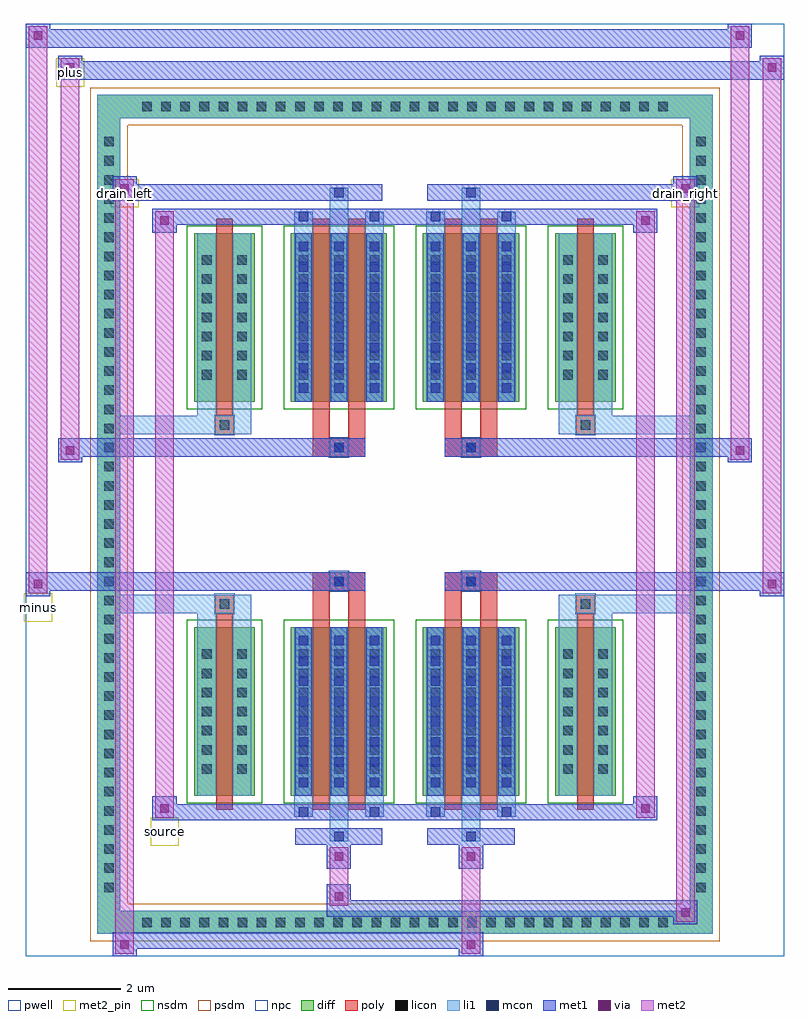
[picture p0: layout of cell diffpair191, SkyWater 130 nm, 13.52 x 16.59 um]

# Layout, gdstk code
import gdstk
lib = gdstk.Library(unit=1e-6, precision=5e-09)
def R(c, l, rs):  # rectangles x0, y0, x1, y1
    for r in rs: c.add(gdstk.rectangle(r[:2], r[2:], *l))
def A(c, l, x, y, w, h, nx, ny, dx, dy):  # array of equal rectangles
    R(c, l, [(x+i*dx, y+j*dy, x+i*dx+w, y+j*dy+h) for i in range(nx) for j in range(ny)])
def P(c, l, *ps):  # polygons
    for p in ps: c.add(gdstk.Polygon(p, *l))
pwell = (64, 44)
diff = (65, 20)
poly = (66, 20)
licon = (66, 44)
li1 = (67, 20)
mcon = (67, 44)
met1 = (68, 20)
via = (68, 44)
met2_pin = (69, 16)
met2 = (69, 20)
nsdm = (93, 44)
psdm = (94, 20)
npc = (95, 20)

diffpair191 = lib.new_cell('diffpair191')
R(diffpair191, pwell, [(-6.74,-7.86,6.74,8.73), (-4.06,-6.05,-0.01,-0.825), (0.01,-6.05,4.06,-0.825), (-4.06,0.825,-0.01,6.05), (0.01,0.825,4.06,6.05)])
A(diffpair191, diff, -4.795, -7.46, 0.41, 0.41, 28, 2, 0.34, 14.51)
A(diffpair191, diff, -5.47, -6.835, 0.41, 0.41, 1, 40, 0, 0.34)
A(diffpair191, diff, 5.06, -6.835, 0.41, 0.41, 1, 40, 0, 0.34)
R(diffpair191, diff, [(-4.795,-7.46,4.795,-7.05), (-5.47,-6.835,-5.06,6.835), (5.06,-6.835,5.47,6.835), (-3.75,-5.005,-2.67,-2.005), (-2.03,-5.005,-0.32,-2.005), (0.32,-5.005,2.03,-2.005), (2.67,-5.005,3.75,-2.005), (-3.75,2.005,-2.67,5.005), (-2.03,2.005,-0.32,5.005), (0.32,2.005,2.03,5.005), (2.67,2.005,3.75,5.005), (-4.795,7.05,4.795,7.46)])
P(diffpair191, diff, [(5.47,7.46),(-5.47,7.46),(-5.47,-7.05),(-5.06,-7.05),(-5.06,7.05),(5.06,7.05),(5.06,-7.05),(-5.06,-7.05),(-5.47,-7.05),(-5.47,-7.46),(5.47,-7.46)])
R(diffpair191, poly, [(-3.36,-5.255,-3.06,-1.755), (-1.64,-5.255,-1.34,-1.755), (-1.01,-5.255,-0.71,-1.755), (0.71,-5.255,1.01,-1.755), (1.34,-5.255,1.64,-1.755), (3.06,-5.255,3.36,-1.755), (-3.375,-1.755,-3.045,-1.425), (-3.375,-1.755,-3.045,-1.425), (-1.64,-1.755,-1.34,-1.355), (-1.01,-1.755,-0.71,-1.355), (0.71,-1.755,1.01,-1.355), (1.34,-1.755,1.64,-1.355), (3.045,-1.755,3.375,-1.425), (3.045,-1.755,3.375,-1.425), (-1.64,-1.355,-0.71,-1.025), (-1.34,-1.355,-1.01,-1.025), (0.71,-1.355,1.64,-1.025), (1.01,-1.355,1.34,-1.025), (-1.64,1.025,-0.71,1.355), (-1.34,1.025,-1.01,1.355), (0.71,1.025,1.64,1.355), (1.01,1.025,1.34,1.355), (-1.64,1.355,-1.34,1.755), (-1.01,1.355,-0.71,1.755), (0.71,1.355,1.01,1.755), (1.34,1.355,1.64,1.755), (-3.375,1.425,-3.045,1.755), (-3.375,1.425,-3.045,1.755), (3.045,1.425,3.375,1.755), (3.045,1.425,3.375,1.755), (-3.36,1.755,-3.06,5.255), (-1.64,1.755,-1.34,5.255), (-1.01,1.755,-0.71,5.255), (0.71,1.755,1.01,5.255), (1.34,1.755,1.64,5.255), (3.06,1.755,3.36,5.255)])
A(diffpair191, licon, -4.675, -7.34, 0.17, 0.17, 28, 2, 0.34, 14.51)
A(diffpair191, licon, -5.35, -6.715, 0.17, 0.17, 1, 40, 0, 0.34)
A(diffpair191, licon, 5.18, -6.715, 0.17, 0.17, 1, 40, 0, 0.34)
A(diffpair191, licon, -3.61, -4.61, 0.17, 0.17, 1, 7, 0, 0.34)
A(diffpair191, licon, -2.98, -4.61, 0.17, 0.17, 1, 7, 0, 0.34)
A(diffpair191, licon, -1.89, -4.61, 0.17, 0.17, 3, 7, 0.63, 0.34)
A(diffpair191, licon, 0.46, -4.61, 0.17, 0.17, 3, 7, 0.63, 0.34)
A(diffpair191, licon, 2.81, -4.61, 0.17, 0.17, 1, 7, 0, 0.34)
A(diffpair191, licon, 3.44, -4.61, 0.17, 0.17, 1, 7, 0, 0.34)
A(diffpair191, licon, -3.61, 2.4, 0.17, 0.17, 1, 7, 0, 0.34)
A(diffpair191, licon, -2.98, 2.4, 0.17, 0.17, 1, 7, 0, 0.34)
A(diffpair191, licon, -1.89, 2.4, 0.17, 0.17, 3, 7, 0.63, 0.34)
A(diffpair191, licon, 0.46, 2.4, 0.17, 0.17, 3, 7, 0.63, 0.34)
A(diffpair191, licon, 2.81, 2.4, 0.17, 0.17, 1, 7, 0, 0.34)
A(diffpair191, licon, 3.44, 2.4, 0.17, 0.17, 1, 7, 0, 0.34)
R(diffpair191, licon, [(-3.295,-1.675,-3.125,-1.505), (3.125,-1.675,3.295,-1.505), (-1.26,-1.275,-1.09,-1.105), (1.09,-1.275,1.26,-1.105), (-1.26,1.105,-1.09,1.275), (1.09,1.105,1.26,1.275), (-3.295,1.505,-3.125,1.675), (3.125,1.505,3.295,1.675)])
A(diffpair191, li1, -4.755, -7.42, 0.33, 0.33, 28, 2, 0.34, 14.51)
A(diffpair191, li1, -5.43, -6.795, 0.33, 0.33, 1, 40, 0, 0.34)
A(diffpair191, li1, 5.1, -6.795, 0.33, 0.33, 1, 40, 0, 0.34)
A(diffpair191, li1, -1.97, -5.005, 0.33, 3, 3, 2, 0.63, 7.01)
A(diffpair191, li1, 0.38, -5.005, 0.33, 3, 3, 2, 0.63, 7.01)
A(diffpair191, li1, -1.89, -4.85, 0.17, 0.17, 3, 8, 0.63, 0.36)
A(diffpair191, li1, -1.89, -4.85, 0.17, 2.69, 3, 2, 0.63, 7.01)
A(diffpair191, li1, 0.46, -4.85, 0.17, 0.17, 3, 8, 0.63, 0.36)
A(diffpair191, li1, 0.46, -4.85, 0.17, 2.69, 3, 2, 0.63, 7.01)
A(diffpair191, li1, -3.69, -4.69, 0.33, 0.33, 1, 7, 0, 0.34)
A(diffpair191, li1, -3.06, -4.69, 0.33, 0.33, 1, 7, 0, 0.34)
A(diffpair191, li1, -1.97, -4.69, 0.33, 0.33, 3, 7, 0.63, 0.34)
A(diffpair191, li1, 0.38, -4.69, 0.33, 0.33, 3, 7, 0.63, 0.34)
A(diffpair191, li1, 2.73, -4.69, 0.33, 0.33, 1, 7, 0, 0.34)
A(diffpair191, li1, 3.36, -4.69, 0.33, 0.33, 1, 7, 0, 0.34)
A(diffpair191, li1, -1.89, 2.16, 0.17, 0.17, 3, 8, 0.63, 0.36)
A(diffpair191, li1, 0.46, 2.16, 0.17, 0.17, 3, 8, 0.63, 0.36)
A(diffpair191, li1, -3.69, 2.32, 0.33, 0.33, 1, 7, 0, 0.34)
A(diffpair191, li1, -3.06, 2.32, 0.33, 0.33, 1, 7, 0, 0.34)
A(diffpair191, li1, -1.97, 2.32, 0.33, 0.33, 3, 7, 0.63, 0.34)
A(diffpair191, li1, 0.38, 2.32, 0.33, 0.33, 3, 7, 0.63, 0.34)
A(diffpair191, li1, 2.73, 2.32, 0.33, 0.33, 1, 7, 0, 0.34)
A(diffpair191, li1, 3.36, 2.32, 0.33, 0.33, 1, 7, 0, 0.34)
R(diffpair191, li1, [(-5.47,-7.46,-5.06,-7.05), (-5.47,-7.46,-5.06,-7.05), (-5.06,-7.46,5.06,-7.05), (5.06,-7.46,5.47,-7.05), (5.06,-7.46,5.47,-7.05), (-5.47,-7.05,-5.06,7.05), (5.06,-7.05,5.47,7.05), (-1.34,-5.81,-1.01,-5.005), (-1.26,-5.81,-1.09,-5.64), (1.01,-5.81,1.34,-5.005), (1.09,-5.81,1.26,-5.64), (-1.97,-5.38,-1.64,-5.005), (-1.89,-5.38,-1.72,-5.21), (-0.71,-5.38,-0.38,-5.005), (-0.63,-5.38,-0.46,-5.21), (0.38,-5.38,0.71,-5.005), (0.46,-5.38,0.63,-5.21), (1.64,-5.38,1.97,-5.005), (1.72,-5.38,1.89,-5.21), (-3.69,-5.005,-3.36,-2.005), (-3.06,-5.005,-2.73,-2.005), (2.73,-5.005,3.06,-2.005), (3.36,-5.005,3.69,-2.005), (-3.69,-2.005,-3.36,-1.425), (-3.06,-2.005,-2.73,-1.425), (2.73,-2.005,3.06,-1.425), (3.36,-2.005,3.69,-1.425), (-5.47,-1.755,-3.375,-1.425), (-3.69,-1.755,-3.375,-1.425), (-3.375,-1.755,-3.045,-1.425), (-3.045,-1.755,-2.73,-1.425), (2.73,-1.755,3.045,-1.425), (3.045,-1.755,3.375,-1.425), (3.045,-1.755,5.47,-1.425), (3.375,-1.755,3.69,-1.425), (-1.34,-1.355,-1.01,-1.025), (1.01,-1.355,1.34,-1.025), (-1.34,1.025,-1.01,1.355), (1.01,1.025,1.34,1.355), (-5.47,1.425,-3.375,1.755), (-3.69,1.425,-3.375,1.755), (-3.69,1.425,-3.36,2.005), (-3.375,1.425,-3.045,1.755), (-3.06,1.425,-2.73,2.005), (-3.045,1.425,-2.73,1.755), (2.73,1.425,3.045,1.755), (2.73,1.425,3.06,2.005), (3.045,1.425,3.375,1.755), (3.045,1.425,5.47,1.755), (3.36,1.425,3.69,2.005), (3.375,1.425,3.69,1.755), (-3.69,2.005,-3.36,5.005), (-3.06,2.005,-2.73,5.005), (2.73,2.005,3.06,5.005), (3.36,2.005,3.69,5.005), (-1.97,5.005,-1.64,5.38), (-1.34,5.005,-1.01,5.81), (-0.71,5.005,-0.38,5.38), (0.38,5.005,0.71,5.38), (1.01,5.005,1.34,5.81), (1.64,5.005,1.97,5.38), (-1.89,5.21,-1.72,5.38), (-0.63,5.21,-0.46,5.38), (0.46,5.21,0.63,5.38), (1.72,5.21,1.89,5.38), (-1.26,5.64,-1.09,5.81), (1.09,5.64,1.26,5.81), (-5.47,7.05,-5.06,7.46), (-5.47,7.05,-5.06,7.46), (-5.06,7.05,5.06,7.46), (5.06,7.05,5.47,7.46), (5.06,7.05,5.47,7.46)])
A(diffpair191, mcon, -1.89, -4.85, 0.17, 0.17, 3, 8, 0.63, 0.36)
A(diffpair191, mcon, 0.46, -4.85, 0.17, 0.17, 3, 8, 0.63, 0.36)
A(diffpair191, mcon, -1.89, 2.16, 0.17, 0.17, 3, 8, 0.63, 0.36)
A(diffpair191, mcon, 0.46, 2.16, 0.17, 0.17, 3, 8, 0.63, 0.36)
R(diffpair191, mcon, [(-1.26,-5.81,-1.09,-5.64), (1.09,-5.81,1.26,-5.64), (-1.89,-5.38,-1.72,-5.21), (-0.63,-5.38,-0.46,-5.21), (0.46,-5.38,0.63,-5.21), (1.72,-5.38,1.89,-5.21), (-1.26,-1.275,-1.09,-1.105), (1.09,-1.275,1.26,-1.105), (-1.26,1.105,-1.09,1.275), (1.09,1.105,1.26,1.275), (-1.89,5.21,-1.72,5.38), (-0.63,5.21,-0.46,5.38), (0.46,5.21,0.63,5.38), (1.72,5.21,1.89,5.38), (-1.26,5.64,-1.09,5.81), (1.09,5.64,1.26,5.81)])
A(diffpair191, met1, -1.95, -5.005, 0.29, 3, 3, 2, 0.63, 7.01)
A(diffpair191, met1, 0.4, -5.005, 0.29, 3, 3, 2, 0.63, 7.01)
A(diffpair191, met1, -1.95, -4.91, 0.29, 0.29, 3, 8, 0.63, 0.36)
A(diffpair191, met1, 0.4, -4.91, 0.29, 0.29, 3, 8, 0.63, 0.36)
A(diffpair191, met1, -1.95, 2.1, 0.29, 0.29, 3, 8, 0.63, 0.36)
A(diffpair191, met1, 0.4, 2.1, 0.29, 0.29, 3, 8, 0.63, 0.36)
R(diffpair191, met1, [(-5.2,-7.86,-4.77,-7.43), (0.96,-7.86,1.39,-7.43), (-5.2,-7.72,1.39,-7.43), (4.77,-7.29,5.2,-6.86), (-1.39,-7.15,5.2,-6.86), (-1.39,-7.01,-0.96,-6.58), (-1.39,-6.3,-0.96,-5.87), (0.96,-6.3,1.39,-5.87), (-1.95,-5.87,-0.4,-5.58), (-1.32,-5.87,-1.03,-5.58), (0.4,-5.87,1.95,-5.58), (1.03,-5.87,1.32,-5.58), (-4.49,-5.44,-4.06,-5.01), (-4.49,-5.44,-1.95,-5.15), (-1.95,-5.44,-1.66,-5.15), (-1.95,-5.44,-0.4,-5.15), (-0.69,-5.44,-0.4,-5.15), (-0.4,-5.44,0.4,-5.15), (0.4,-5.44,0.69,-5.15), (0.4,-5.44,1.95,-5.15), (1.66,-5.44,1.95,-5.15), (1.95,-5.44,4.49,-5.15), (4.06,-5.44,4.49,-5.01), (-6.74,-1.455,-6.31,-1.025), (6.31,-1.455,6.74,-1.025), (-6.74,-1.355,-0.71,-1.025), (-1.64,-1.355,-0.71,-1.025), (0.71,-1.355,1.64,-1.025), (0.71,-1.355,6.74,-1.025), (-1.32,-1.335,-1.03,-1.045), (1.03,-1.335,1.32,-1.045), (-6.17,0.925,-5.74,1.355), (5.74,0.925,6.17,1.355), (-6.17,1.025,-1.64,1.355), (-1.64,1.025,-0.71,1.355), (0.71,1.025,1.64,1.355), (1.64,1.025,6.17,1.355), (-1.32,1.045,-1.03,1.335), (1.03,1.045,1.32,1.335), (-4.49,5.01,-4.06,5.44), (4.06,5.01,4.49,5.44), (-4.49,5.15,-1.95,5.44), (-1.95,5.15,-1.66,5.44), (-1.95,5.15,-0.4,5.44), (-0.69,5.15,-0.4,5.44), (-0.4,5.15,0.4,5.44), (0.4,5.15,0.69,5.44), (0.4,5.15,1.95,5.44), (1.66,5.15,1.95,5.44), (1.95,5.15,4.49,5.44), (-5.2,5.58,-4.77,6.01), (-5.2,5.58,-1.95,5.87), (-1.95,5.58,-0.4,5.87), (-1.32,5.58,-1.03,5.87), (0.4,5.58,1.95,5.87), (1.03,5.58,1.32,5.87), (1.95,5.58,5.2,5.87), (4.77,5.58,5.2,6.01), (-6.17,7.73,-5.74,8.16), (-6.17,7.73,-4.06,8.06), (-4.06,7.73,4.06,8.06), (4.06,7.73,6.74,8.06), (6.31,7.73,6.74,8.16), (-6.74,8.3,-6.31,8.73), (-6.74,8.3,-4.06,8.63), (-4.06,8.3,4.06,8.63), (4.06,8.3,6.17,8.63), (5.74,8.3,6.17,8.73)])
R(diffpair191, via, [(-5.06,-7.72,-4.91,-7.57), (1.1,-7.72,1.25,-7.57), (4.91,-7.15,5.06,-7), (-1.25,-6.87,-1.1,-6.72), (-1.25,-6.16,-1.1,-6.01), (1.1,-6.16,1.25,-6.01), (-4.35,-5.3,-4.2,-5.15), (4.2,-5.3,4.35,-5.15), (-6.6,-1.315,-6.45,-1.165), (6.45,-1.315,6.6,-1.165), (-6.03,1.065,-5.88,1.215), (5.88,1.065,6.03,1.215), (-4.35,5.15,-4.2,5.3), (4.2,5.15,4.35,5.3), (-5.06,5.72,-4.91,5.87), (4.91,5.72,5.06,5.87), (-6.03,7.87,-5.88,8.02), (6.45,7.87,6.6,8.02), (-6.6,8.44,-6.45,8.59), (5.88,8.44,6.03,8.59)])
R(diffpair191, met2_pin, [(-4.525,-5.89,-4.025,-5.39), (-6.775,-1.905,-6.275,-1.405), (-5.235,5.46,-4.735,5.96), (4.735,5.46,5.235,5.96), (-6.205,7.61,-5.705,8.11)])
R(diffpair191, met2, [(-5.15,-7.81,-4.82,-7.48), (-5.15,-7.81,-4.82,5.96), (1.01,-7.81,1.34,-7.48), (1.01,-7.48,1.34,-6.25), (4.82,-7.24,5.15,-6.91), (4.82,-7.24,5.15,5.96), (-1.34,-6.96,-1.01,-6.63), (-1.34,-6.63,-1.01,-6.25), (-1.34,-6.25,-1.01,-5.92), (1.01,-6.25,1.34,-5.92), (-4.44,-5.39,-4.11,-5.06), (-4.44,-5.39,-4.11,5.39), (4.11,-5.39,4.44,-5.06), (4.11,-5.39,4.44,5.39), (-6.69,-1.405,-6.36,-1.075), (-6.69,-1.405,-6.36,8.68), (6.36,-1.405,6.69,-1.075), (6.36,-1.405,6.69,8.11), (-6.12,0.975,-5.79,1.305), (-6.12,0.975,-5.79,8.11), (5.79,0.975,6.12,1.305), (5.79,0.975,6.12,8.68), (-4.44,5.06,-4.11,5.39), (4.11,5.06,4.44,5.39), (-5.15,5.63,-4.82,5.96), (4.82,5.63,5.15,5.96), (-6.12,7.78,-5.79,8.11), (6.36,7.78,6.69,8.11), (-6.69,8.35,-6.36,8.68), (5.79,8.35,6.12,8.68)])
P(diffpair191, met2, [(6.69,-1.405),(6.69,-1.405),(6.69,-1.075),(6.69,-1.075)],
  [(6.69,7.78),(6.69,7.78),(6.69,8.11),(6.69,8.11)],
  [(-6.36,-1.405),(-6.36,-1.405),(-6.36,-1.075),(-6.36,-1.075)],
  [(-6.36,8.35),(-6.36,8.35),(-6.36,8.68),(-6.36,8.68)],
  [(6.12,0.975),(6.12,0.975),(6.12,1.305),(6.12,1.305)],
  [(6.12,8.35),(6.12,8.35),(6.12,8.68),(6.12,8.68)],
  [(-5.79,0.975),(-5.79,0.975),(-5.79,1.305),(-5.79,1.305)],
  [(-5.79,7.78),(-5.79,7.78),(-5.79,8.11),(-5.79,8.11)],
  [(-4.82,-7.81),(-4.82,-7.81),(-4.82,-7.48),(-4.82,-7.48)],
  [(-4.82,5.63),(-4.82,5.63),(-4.82,5.96),(-4.82,5.96)],
  [(5.15,-7.24),(5.15,-7.24),(5.15,-6.91),(5.15,-6.91)],
  [(5.15,5.63),(5.15,5.63),(5.15,5.96),(5.15,5.96)],
  [(-4.11,-5.39),(-4.11,-5.39),(-4.11,-5.06),(-4.11,-5.06)],
  [(-4.11,5.06),(-4.11,5.06),(-4.11,5.39),(-4.11,5.39)],
  [(4.44,-5.39),(4.44,-5.39),(4.44,-5.06),(4.44,-5.06)],
  [(4.44,5.06),(4.44,5.06),(4.44,5.39),(4.44,5.39)])
R(diffpair191, nsdm, [(-3.88,-5.135,-2.54,-1.875), (-2.16,-5.135,-0.19,-1.875), (0.19,-5.135,2.16,-1.875), (2.54,-5.135,3.88,-1.875), (-3.88,1.875,-2.54,5.135), (-2.16,1.875,-0.19,5.135), (0.19,1.875,2.16,5.135), (2.54,1.875,3.88,5.135)])
P(diffpair191, psdm, [(5.6,7.59),(-5.6,7.59),(-5.6,-6.92),(-4.93,-6.92),(-4.93,6.92),(4.93,6.92),(4.93,-6.92),(-4.93,-6.92),(-5.6,-6.92),(-5.6,-7.59),(5.6,-7.59)])
R(diffpair191, npc, [(-3.395,-1.775,-3.025,-1.405), (3.025,-1.775,3.395,-1.405), (-1.36,-1.375,-0.99,-1.005), (0.99,-1.375,1.36,-1.005), (-1.36,1.005,-0.99,1.375), (0.99,1.005,1.36,1.375), (-3.395,1.405,-3.025,1.775), (3.025,1.405,3.395,1.775)])
diffpair191.add(gdstk.Label('minus', (-6.525,-1.655), layer=69, texttype=5))
diffpair191.add(gdstk.Label('drain_right', (4.985,5.71), layer=69, texttype=5))
diffpair191.add(gdstk.Label('drain_left', (-4.985,5.71), layer=69, texttype=5))
diffpair191.add(gdstk.Label('source', (-4.275,-5.64), layer=69, texttype=5))
diffpair191.add(gdstk.Label('plus', (-5.955,7.86), layer=69, texttype=5))

lib.write_gds('diffpair191.gds')
